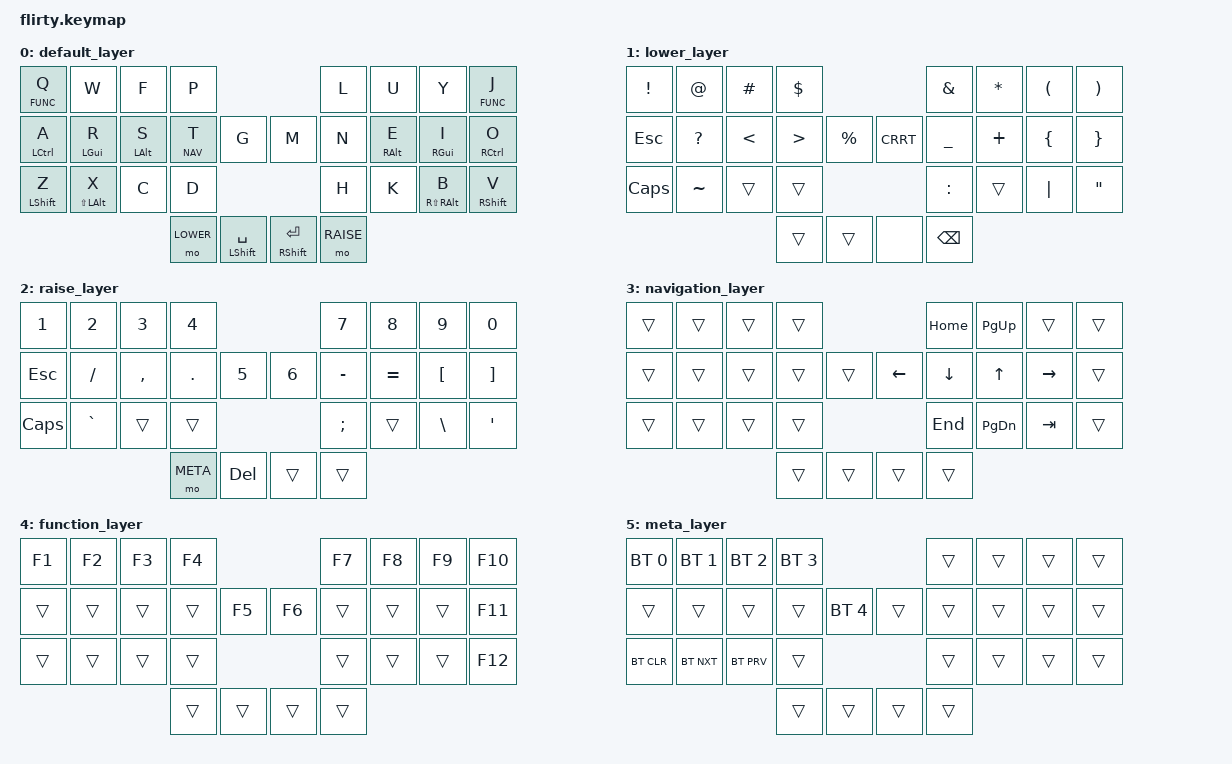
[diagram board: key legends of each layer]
/*
 * Copyright (c) 2020 The ZMK Contributors
 *
 * SPDX-License-Identifier: MIT
 */

#include <behaviors.dtsi>
#include <dt-bindings/zmk/keys.h>
#include <dt-bindings/zmk/bt.h>

#define DEFAULT 0
#define LOWER 1
#define RAISE 2
#define NAV 3
#define FUNC 4
#define META 5
#define ST(keycode) &as LSHFT keycode


&mt {
  flavor = "balanced";
  tapping_term_ms = <200>;
  quick-tap-ms = <175>;
  global-quick-tap;
};


/ { 
    behaviors {
        st: shift-tap {
            compatible = "zmk,behavior-hold-tap";
            label = "SHIFT_TAP";
            #binding-cells = <2>;
            flavor = "balanced";
            tapping-term-ms = <150>;
            quick-tap-ms = <0>;
            bindings = <&kp>, <&kp>;
        };
    };

    keymap {
        compatible = "zmk,keymap";
                
        default_layer {
            bindings = <
            &lt FUNC Q   &kp W           &kp F       &kp P                                            &kp L      &kp U       &kp Y          &lt FUNC J 
            &mt LCTRL A  &mt LGUI R      &mt LALT S  &lt NAV T  &kp G                  &kp M          &kp N      &mt RALT E  &mt RGUI I     &mt RCTRL O
            &mt LSHFT Z  &mt LS(LALT) X  &kp C       &kp D                                            &kp H      &kp K       &mt RS(RALT) B &mt RSHFT V
                                                 &mo LOWER  &st LSHFT SPC          &st RSHFT RET  &mo RAISE
            >;
        };

        lower_layer {
            bindings = <
            &kp EXCL  &kp AT     &kp HASH  &kp DLLR                                  &kp AMPS   &kp STAR  &kp LPAR  &kp RPAR 
            &kp ESC   &kp QMARK  &kp LT    &kp GT    &kp PRCNT             &kp CRRT  &kp UNDER  &kp PLUS  &kp LBRC  &kp RBRC
            &kp CAPS  &kp TILDE  &trans    &trans                                    &kp COLON  &trans    &kp PIPE  &kp DQT
                                           &trans    &trans                &none  &kp BSPC
            >;
        };    

        raise_layer {
            bindings = <
            &kp N1    &kp N2     &kp N3     &kp N4                              &kp N7     &kp N8     &kp N9    &kp N0
            &kp ESC   &kp SLASH  &kp COMMA  &kp DOT   &kp N5            &kp N6  &kp MINUS  &kp EQUAL  &kp LBKT  &kp RBKT
            &kp CAPS  &kp GRAVE  &trans     &trans                              &kp SEMI   &trans     &kp BSLH  &kp SQT
                                            &mo META  &kp DEL           &trans  &trans
            >;
        };

        navigation_layer {
            bindings = <
            &trans  &trans  &trans  &trans                              &kp HOME  &kp PG_UP  &trans    &trans
            &trans  &trans  &trans  &trans  &trans            &kp LEFT  &kp DOWN  &kp UP     &kp RIGHT  &trans
            &trans  &trans  &trans  &trans                              &kp END   &kp PG_DN  &kp TAB  &trans
                                    &trans  &trans            &trans    &trans
            >;
        };

        function_layer {
            bindings = <
            &kp F1  &kp F2  &kp F3  &kp F4                            &kp F7  &kp F8  &kp F9  &kp F10
            &trans  &trans  &trans  &trans  &kp F5            &kp F6  &trans  &trans  &trans  &kp F11
            &trans  &trans  &trans  &trans                            &trans  &trans  &trans  &kp F12
                                    &trans  &trans            &trans  &trans
            >;
        };

        meta_layer {
            bindings = <
            &bt BT_SEL 0  &bt BT_SEL 1  &bt BT_SEL 2  &bt BT_SEL 3                             &trans  &trans  &trans  &trans
            &trans        &trans        &trans        &trans        &bt BT_SEL 4       &trans  &trans  &trans  &trans  &trans 
            &bt BT_CLR    &bt BT_NXT    &bt BT_PRV    &trans                                   &trans  &trans  &trans &trans   
                                                      &trans        &trans             &trans  &trans 
            >;
        };    
    };
};
